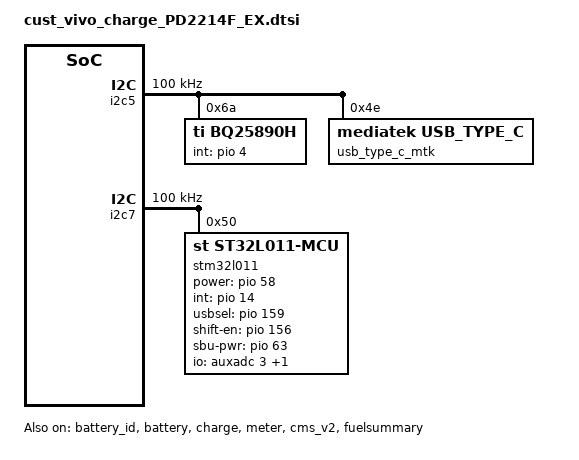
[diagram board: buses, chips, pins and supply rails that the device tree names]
#include <dt-bindings/iio/adc/mediatek,mt6375_auxadc.h>
#include <dt-bindings/iio/adc/mediatek,mt6375_adc.h>
#include <dt-bindings/iio/mt635x-auxadc.h>

&battery_id {
	status = "okay";
	compatible = "vivo,battery_id";

	vivo,bat-adc-ctrl-gpio = <&pio 92 0>;

	io-channels = <&auxadc 3>;
	io-channel-names = "battery_id_adc";

	vivo,bat-name = "B-P1(1511041) ATL 4.48V 4130","UNKNOWN","UNKNOWN","UNKNOWN";
};

&battery {
	status = "okay";
	compatible = "vivo,battery";

	io-channels = <&auxadc 0>;
	//	<&pmic_adc (ADC_PURES_100K_MASK | AUXADC_VIN5)>,
	//	<&pmic_adc (ADC_PURES_100K_MASK | AUXADC_VIN7)>;
	io-channel-names = "primary_board_therm";
	//		"usb_con_therm",
	//		"batt_therm";
	vivo,low-volt-threshold = <3400>;
	vivo,soft-rise-percent = <96>;
	vivo,soft-rise-cumulative = <3>;
	vivo,soft-rise-keep-cumulative = <10>;
	vivo,percnet-sync-delta = <1>;
	vivo,percnet-sync-cumulative = <9>;
	vivo,full-sync-cumulative = <3>;
	vivo,soft-term-percent = <99>;
	vivo,soft-term-cumulative = <24>;
	vivo,soc-decimal-enable;
};

&charge {
	status = "okay";
	compatible = "vivo,charge";

	vivo,chg-wdt-s = <40>;
	vivo,re-chg-voltage-mv = <100>;
	vivo,prechg-voltage-mv = <3000>;
	vivo,iprechg-current-ma = <300>;
	vivo,iterm-current-ma = <256>;
	vivo,vreg-voltage-mv = <4460>;
	vivo,vindpm-voltage-mv = <4600>;
	vivo,sys-voltage-min-mv= <3300>;
	vivo,boostv-voltage-mv = <5150>;
	vivo,boostv-ilimit-ma = <1300>;
	vivo,ovp-voltage-mv = <15000>;

	vivo,normal-full-ibat-table-size = <4>;
	vivo,normal-full-ibat-table = <150 199 (-200)>,
		<200 249 (-200)>,
		<250 349 (-200)>,
		<350 449 (-300)>;

	/*
	 * 0  auto detect charging
	 * 1  vivo-normal chargine
	 * 2  vivo-single engine charging
	 * 3  vivo-dual engine charging
	 * 4  vivo-flash charging
	 */
	vivo,charge-scheme = <0>;
	vivo,direct-charger-enable;

	/*
	 * SUPPORTED_ADAPTER_DEFAULT = 0,
	 * SUPPORTED_ADAPTER_VIVO_LV_DCHG_5V_4500MA = 1,
	 * SUPPORTED_ADAPTER_VIVO_HV_DCHG_10V_2250MA = 2,
	 * SUPPORTED_ADAPTER_QC20__9V_2000MA = 3,
	 * SUPPORTED_ADAPTER_VIVO_HV_DCHG_10V_4000MA = 4,
	 * SUPPORTED_ADAPTER_MAX,
	 */
	vivo,supported-adapter = <3>;

	//parameter for 9V2A
	vivo,primary-ichg-max-ma = <2240>;
	vivo,parallel-ichg-max-ma = <1680>;

	vivo,flashchg-spec-ma = <2000 3300 10000>;
	vivo,fastchg-spec-ma = <2000 2100 3800>;
	vivo,normalchg-spec-ma = <2000 1500 2300>;

	/* 0---PMIC; 1---CHGIC */
	vivo,vbus-detect-source = <1>;
	//vivo,shipmode-gpio = <&pio 122 0>;

	//vivo,usboe-gpio = <&pio 163 0>;
	//vivo,apcmos-ctrl-gpio = <&mt6373_pio 1 0>;
	//vivo,wichg-sleep-ctrl-gpio = <&mt6373_pio 2 0>;
	//vivo,otgen-gpio = <&pio 223 0>;
	//vivo,apmos-gpio = <&pio 224 0>;
	//vivo,otg-ocp-int-gpio = <&pio 3 0>;
	//vivo,wls-charge-enable;

	/*ffc*/
	//vivo,ffc-enable;
	vivo,ffc-iterm-ma = <(-595)>;
	vivo,ffc-vreg-mv = <4528>;
	vivo,ffc-temperature-range = <150 450>;
	vivo,ffc-full-vbat-table-size = <3>;
	vivo,ffc-full-vbat-table = <4531 4528 4470>;
	vivo,ffc-full-ibat-table-size = <4>;
	vivo,ffc-full-ibat-table = <150 199 (-882)>,
		<200 249 (-1279)>,
		<250 349 (-1279)>,
		<350 449 (-1455)>;
};

&meter {
	status = "okay";
	compatible = "vivo,meter";

	vivo,load-capacity-delta-max = <60>;
	vivo,poweron-delta-capacity = <20>;
	vivo,poweron-low-capacity = <3>;
	vivo,volt-car-delta = <8>;
	vivo,car-volt-delta = <6>;
	vivo,meter-res-compesate = <10>;
	vivo,ocv-board-compesate = <0>;

	/* 0---AGING_UNSUPPORTED; 1---DRIVER_SUPPORTED; 2---USPACE_SUPPORTED */
	vivo,battery-aging-support = <2>;

	vivo,capacity-mAh = <4500>;
	/*COLD_CHG COLD_DISCHG NORMAL_CHG NORMAL_DISCHG*/
	vivo,car-tune-value = <1000 1000 1000 1000>,
		<1000 1000 1000 1000>,
		<1000 1000 1000 1000>,
		<1000 1000 1000 1000>,
		<1000 1000 1000 1000>,
		<1000 1000 1000 1000>;
	vivo,bats-qmax = <4100 4200 4280 4350 4400>,
		<4060 4280 4400 4640 4750>,
		<4240 4480 4770 4850 4880>,
		<4611 4630 4747 4805 4786>,
		<4611 4630 4747 4805 4786>,
		<4611 4630 4747 4805 4786>;
	/* car-tune adjust remap */
	vivo,car-tune-adjust-enable;
	vivo,car-tune-adjust-size = <3>;
	vivo,car-tune-adjust-table = <0 10 (330) 6>,
		<11 20 (-30) 7>,
		<21 100 (-30) 8>;

	#include "PD2214_battery_table.dtsi"
};

&cms_v2 {
	compatible = "vivo,charger-monitor-v2";
	status = "okay";

	default_board: single_charger_board {
		       /*default board: keep in xxxxxx*/
		       support-board-version = "xxxxxx";

		       vivo,bat-det-method = <0>;//r:0, rc:1, eprom:2, ex-fg:3
		       vivo,bat-id-gpio = <&pio 28 0>;

		       /*
			  CHG0__CHARGING_TECHNOLOGY_NONE = 0,
			  CHG1__NORMAL_CHARGING,			//5V/2A normal charging
			  CHG2__QC2_CHARGING,				//9V/2A	QC2.0 charging
			  CHG3__LOW_VOLTAGE_DIRECT_CHARGING,		//5V/4.5A direct charging
			  CHG4__SINGLE_IC_DIV2_CHARGING,		//single IC Div/2 charging
			  CHG5__DUAL_IC_DIV2_CHARGING,			//Dual IC Div/2 charging
			  CHG6__DUAL_IC_DUAL_BATTERY_DIV2_CHARGING,	//Dual IC Div/2 charging
			  CHGX__CHARGING_TECHNOLOGY_MAX,
			*/
		       vivo,charging-technology = <4>;

		       vivo,no-bat-warning;
		       vivo,no-chg-timeout;
		       vivo,chg-timeout-mins = <900>;

		       //high temperature charger current control enable
		       vivo,htccc-enable;
		       vivo,htccc-data = <46 55 4100000 100000>;

		       //vivo,fbon-scale-enable;/*disable default*/
		       vivo,fbon-scale-data = <2 100 100>;

		       //vivo,switch-scale-enable;/*disable from rom4.0*/
		       vivo,switch-scale-data = <75 53>;

		       vivo,calling-scale-enable;
		       vivo,calling-scale-data = <100 21>;/*ibat:3900 * 0.54 = 2106,more than 1500,not exit dchg*/
		       vivo,calling-dchg-disable;

		       vivo,weixin-calling-scale-enable;
		       vivo,weixin-calling-scale-data = <100 106>;/*5000mA*/

		       vivo,carlife-scale-enable;
		       vivo,carlife-scale-data = <100 12>;/*500mA*/

		       //vivo,fixed-scale-enable;
		       vivo,fixed-scale-data = <120 3800 0>;/*dchg fixed time adjust the max ibat,disable default*/

		       /*data processing : batt-temp*/
		       vivo,dp-batt-temp-enable;
		       vivo,dp-batt-temp-data = <100>;

		       vivo,vbat-r-comp = <13>;

		       /* charging current for devices in exhibition mode */
		       vivo,exhibition-mode-current-primary = <2048>;
		       vivo,exhibition-mode-current-parallel = <0>;

		       /*default tc parameter*/
		       //single charger ibat scale base on temperature battery cell info:1C/1.2C 3960mah
		       /* tmin, tmax, data, volt1, data_ex1, volt2, data_ex2. */
		       vivo,normal-tc-row-col = <8 9>;
		       vivo,normal-tc-data = <550 8888 0 0 0 0 0 0 0>,
			       <450 549 50 0 0 0 0 0 0>,
			       <200 449 100 4200000 70 0 0 0 0>,
			       <150 199 70 0 0 0 0 0 0>,
			       <100 149 70 4200000 50 0 0 0 0>,
			       <50 99 30 0 0 0 0 0 0>,
			       <0 49 30 0 0 0 0 0 0>,
			       <(-8888) (-1) 0 0 0 0 0 0 0>;

		       /*flash tc parameter*/
		       vivo,flash-normal-tc-row-col = <11 9>;
		       vivo,flash-normal-tc-data = <550 8888 0 0 0 0 0 0 0>,
			       <450 549 58 0 0 0 0 0 0>,
			       <350 449 177 4200000 133 4430000 116 4460000 87>,
			       <200 349 177 4200000 133 4430000 116 4460000 87>,
			       <150 199 145 4200000 116 4460000 77 0 0>,
			       <100 149 96 0 0 0 0 0 0>,
			       <50 99 67 4200000 48 0 0 0 0>,
			       <20 49 67 4200000 48 0 0 0 0>,
			       <(-50) (19) 0 0 0 0 0 0 0>,
			       <(-100) (-51) 0 0 0 0 0 0 0>,
			       <(-8888) (-101) 0 0 0 0 0 0 0>;

		       /*adjust fastchg base on board temperature and fb off*/
		       vivo,intell-charge-enable;
		       vivo,parallel-temp-enable = <1 1>;//<x y> x:fb-on y:fb-off

		       /* Flash charge fb-on intell param */
		       vivo,primary-fbon-tc-row-col = <7 3>;
		       vivo,primary-fbon-tc-data = <451 8888 1600>,
			       <436 450 2200>,
			       <421 435 3200>,
			       <406 420 4000>,
			       <386 405 5200>,
			       <366 385 5800>,
			       <(-8888) 365 8000>;

		       vivo,parallel-fbon-tc-row-col = <6 3>;
		       vivo,parallel-fbon-tc-data = <491 8888 1600>,
			       <481 490 2000>,
			       <471 480 2400>,
			       <461 470 3900>,
			       <451 460 6000>,
			       <(-8888) 450 10000>;

		       /* Flash charge fb-off intell param */
		       vivo,primary-fboff-tc-row-col = <6 3>;
		       vivo,primary-fboff-tc-data = <431 8888 1600>,
			       <411 430 3600>,
			       <391 410 4300>,
			       <376 390 4600>,
			       <361 375 5700>,
			       <(-8888) 360 8000>;
		       vivo,parallel-fboff-tc-row-col = <7 3>;
		       vivo,parallel-fboff-tc-data = <501 8888 1600>,
			       <491 500 2900>,
			       <481 490 4800>,
			       <471 480 5800>,
			       <461 470 6700>,
			       <451 460 7900>,
			       <(-8888) 450 10000>;

		       /* 9v Fast charge fb-on intell param */
		       vivo,9v-primary-fbon-tc-row-col = <5 3>;
		       vivo,9v-primary-fbon-tc-data = <451 8888 300>,
			       <431 450 500>,
			       <421 430 1000>,
			       <411 420 1500>,
			       <(-8888) 410 2000>;
		       vivo,9v-parallel-fbon-tc-row-col = <3 3>;
		       vivo,9v-parallel-fbon-tc-data = <401 8888 512>,
			       <386 400 800>,
			       <(-8888) 385 1000>;
		       // second parallel parameter, for rt9467
		       vivo,9v-2nd-parallel-fbon-tc-row-col = <3 3>;
		       vivo,9v-2nd-parallel-fbon-tc-data = <401 8888 512>,
			       <386 400 800>,
			       <(-8888) 385 1000>;


		       /* 9v Fast charge fb-off intell param */
		       vivo,9v-primary-fboff-tc-row-col = <5 3>;
		       vivo,9v-primary-fboff-tc-data = <451 8888 300>,
			       <431 450 500>,
			       <421 430 1000>,
			       <411 420 1500>,
			       <(-8888) 410 2000>;

		       vivo,9v-parallel-fboff-tc-row-col = <6 3>;
		       vivo,9v-parallel-fboff-tc-data = <431 8888 500>,
			       <411 430 700>,
			       <381 410 850>,
			       <371 380 1050>,
			       <351 370 1300>,
			       <(-8888) 350 1500>;
		       // second parallel parameter, for rt9467
		       vivo,9v-2nd-parallel-fboff-tc-row-col = <6 3>;
		       vivo,9v-2nd-parallel-fboff-tc-data = <431 8888 500>,
			       <411 430 700>,
			       <381 410 790>,
			       <371 380 1050>,
			       <351 370 1300>,
			       <(-8888) 350 1500>;


		       /* 5v Normal charge fb-on intell param */
		       vivo,5v-primary-fbon-tc-row-col = <5 3>;
		       vivo,5v-primary-fbon-tc-data = <441 8888 300>,
			       <421 440 500>,
			       <401 420 1000>,
			       <381 400 1600>,
			       <(-8888) 380 2000>;
		       vivo,5v-parallel-fbon-tc-row-col = <1 3>;
		       vivo,5v-parallel-fbon-tc-data = <(-8888) 8888 0>;

		       /* 5v Normal charge fb-off intell param */
		       vivo,5v-primary-fboff-tc-row-col = <5 3>;
		       vivo,5v-primary-fboff-tc-data = <441 8888 300>,
			       <431 440 500>,
			       <421 430 1000>,
			       <411 420 1500>,
			       <(-8888) 410 2000>;
		       vivo,5v-parallel-fboff-tc-row-col = <1 3>;
		       vivo,5v-parallel-fboff-tc-data = <(-8888) 8888 0>;

		       // Direct charging param
		       vivo,direct-charger-enable;//porting_check
		       vivo,ex-bms-psy-name = "bq_bms";

		       // bat_baord, usb_conn, pcb_conn(master_bat_conn), bat_conn
		       vivo,dchg-ntc-protect-enable;
		       vivo,dchg-ntc-protect-data = <750 800 850 850>;

		       vivo,adapter-cooldown-data = <900 850 3400>;
		       /*adapter power derate*/
		       vivo,adapter-power-derate-enable;

		       /* usb connecter protect param
			* USB_PROTECT_NONE = 0,
			* USB_CONN_TEMP_HEAT_PROTECT = BIT(0),
			* USB_ID_PROTECT = BIT(1),
			*/
		       vivo,usb-connecter-protect-enable = <1>;
		       vivo,usb-id-protect-data= <1100 1547 500>;/* 500K, 2M, fcc */
		       vivo,usb-conn-heat-protect-data-row-col = <2 4>;
		       vivo,usb-conn-heat-protect-data= <260 8888 670 620>,
			       <(-8888) 259 570 520>;

		       /*
			* max vbus of adapter:11v, max ibus of adapter:5A
			* min voltage of battery for half chg:3500mV,max voltage of battery for half charge:4100mV,
			* 5V2A charge min current threshold: 1000mA,5V2A charge max current threshold:2100mA,
			* flash charge min current threshold:5000mA,flash charge max current threshold:11000mA
			*/

		       /*default parameter*/
		       vivo,charge-param-judge-threshold = <5 2 3500 4300 1000 2100 5000 11000 0 0>;
		       /* factory mode charging test param */
		       vivo,charge-test-param-row-col = <12 3>;
		       vivo,charge-test-param-data = <0 0 5500>, /* cable resistance, min value, max value */
			       <0 0 5500>, /* master ibus, min ibus, max ibus */
			       <0 0 5500>, /* slave ibus, min ibus, max ibus */
			       <1 20 40>, /* batt therm ntc, min value, max value */
			       <1 20 45>, /* board therm ntc, min value, max value */
			       <0 20 50>, /* sub charger ntc, min value, max value */
			       <0 20 45>, /* usb con ntc, min value, max value */
			       <0 20 45>, /* usb con 1 ntc, double usb NTC, min value, max value */
			       <0 20 45>, /* bat btb master ntc, min value, max value */
			       <0 20 50>, /* bat btb sub ntc, min value, max value */
			       <0 20 50>, /* bat board ntc, min value, max value */
			       <0 20 50>; /* wireless charge coil ntc, min value, max value */

		       /*flash parameter*/
		       vivo,flash-charge-param-judge-threshold = <11 4 3500 4100 1000 2300 4500 8200>;
		       /* factory mode charging test param */
		       vivo,flash-charge-test-param-row-col = <12 3>;
		       vivo,flash-charge-test-param-data = <1 0 5500>, /* cable resistance, min value, max value */
			       <1 0 5500>, /* master ibus, min ibus, max ibus */
			       <0 0 5500>, /* slave ibus, min ibus, max ibus */
			       <1 20 40>, /* batt therm ntc, min value, max value */
			       <1 20 45>, /* board therm ntc, min value, max value */
			       <0 20 50>, /* sub charger ntc, min value, max value */
			       <1 20 45>, /* usb con ntc, min value, max value */
			       <0 20 45>, /* usb con 1 ntc, double usb NTC, min value, max value */
			       <1 20 45>, /* bat btb master ntc, min value, max value */
			       <0 20 50>, /* bat btb sub ntc, min value, max value */
			       <0 20 50>, /* bat board ntc, min value, max value */
			       <0 20 50>; /* wireless charge coil ntc, min value, max value */

		       #include "PD2219_battery_chg_params.dtsi"
	};
};

&power_supply_lite {
	status = "okay";
	compatible = "vivo,power_supply_lite";
};

&wls_system {
	status = "disabled";
	compatible = "vivo,wls-system-control";
	//vivo,wls-40w-enable;
	//vivo,wls-sleep-enable;
	//vivo,alternate_charger_name = "boost_charger";//must del
	vivo,wls-dchg-vout-to-vbat-scale = <4>;//default=2->RX_vout:vbat=2:1;  4->RX_vout:vbat=4:1
};

&fuelsummary {
	status = "okay";
	compatible = "vivo,fuelsummary";

	/************************************************************
	 *
	 *  0   vivo-fastchg
	 *  1   qcom-dualchg
	 *  2   mtk-dualchg
	 *  3   qcom-normchg
	 *  4   mtk-normchg
	 *
	 ***********************************************************/
	chg-scheme = <2>;
	fex-version = <3>;
	fbon-ibat = <(-900)>;
	fboff-ibat = <(-1000)>;

	/* 0---AGING_UNSUPPORTED; 1---DRIVER_SUPPORTED; 2---USPACE_SUPPORTED */
	vivo,battery-aging-support = <2>;
};



&i2c5 {
	#address-cells = <1>;
	#size-cells = <0>;
	status = "okay";
	clock-frequency = <100000>;
	mediatek,use-open-drain;

	bq25890h@6a {
		compatible = "ti,bq25890h";
		reg = <0x6a>;

		vivo,int-gpio = <&pio 4 0>;
	};
	usb_type_c_mtk:usb_type_c@4e {
		compatible = "mediatek,usb_type_c";
		reg = <0x4e>;
	};
};



&i2c7 {
	#address-cells = <1>;
	#size-cells = <0>;
	status = "okay";
	clock-frequency = <100000>;

	stm32l011@50 {
		compatible = "st,st32l011-mcu";
		reg = <0x50>;

		//vpower-ldo-supply = <&mt6369_vtp>;
		vivo,power-gpio = <&pio 58 0>;//ZC_LDO_EN
		vivo,int-gpio = <&pio 14 0>;//MCU_INT_AP
		vivo,usbsel-gpio = <&pio 159 0>;//USB_SW_EN
		vivo,shift-en-gpio = <&pio 156 0>;//SHIFT_EN
		vivo,sbu-pwr-gpio = <&pio 63 0>;
		//vivo,mcu-version-gpio = <&pio 193 0>;
		//vivo,chgic-version-gpio = <&pio 188 0>;
		ti,temp-cold-degc = <2>;
		ti,temp-hot-degc = <43>;
		vivo,total-limit-max-ma = <12000>;
		vivo,bigdata-collect-time-limit = <95>;//seconds
		vivo,direct-charger-enable;//porting_check

		//vivo,ffc-dchg-cv-normal = <8920>;
		//vivo,ffc-dchg-iterm-normal = <441>;
		//vivo,vbat-too-high-threshold = <9040>;
		vivo,ffc-temperature-range = <150 450>;
		vivo,ffc-cc-to-cv-ibat-thr-rc = <1 3>;
		/*<Tmin Tmax current>*/
		vivo,ffc-cc-to-cv-ibat-thr-table = <150 450 3800>;
		vivo,ffc-dchg-cv-mv-rc = <3 2>;
		/*btb_cv,fg_cv*/
		vivo,ffc-dchg-cv-mv-table = <4430 4430>,/*default*/
			<4531 4531>,/*single_charging*/
			<4528 4528>;/*dual_charging*/

		//vivo,cout-int-gpio = <&pio 5 0>;

		/*ibat low div2 bypass feature*/
		//vivo,div2-bypass-enable;
		//vivo,div2-bypass-ibat-thr = <2500>;

		vivo,sbu-cable-id-detect-enable;
		vivo,sbu-detect-rely-usb-switch;
		//vivo,sbu-id-detect-from-ex-adc;

		vivo,bat-board-temp-enable = <0>;
		vivo,usb-conn-temp-enable = <0>;
		vivo,bat-conn-temp-enable = <0>;
		vivo,master-bat-conn-temp-enable = <0>;
		vivo,dchg-exit-ntc-threshold = <700 650 700 700 1200>;

		/* BQ25970_SINGLE_DCHG:
		 * DCHG_SINGLE_TYPE_22P5W = 0,
		 * DCHG_SINGLE_TYPE_33W = 1,
		 * DCHG_SINGLE_TYPE_44W = 2,
		 * BQ25970_DUAL_DCHG:DCHG_DUAL_TYPE_44W = 3,
		 */
		vivo,dchg-supported-type = <1>;
		/*adapter power derate*/
		vivo,adapter-power-derate-enable;

		//vivo,single-charger-enable;
		vivo,adapter-sha-encryption;
		io-channels = <&auxadc 3>,
			<&auxadc 5>;

		io-channel-names = "sbu2_cable_id_adc",
			"sbu1_cable_id_adc";

		/*cable r limit table :
		  <rmin,rmax, dchg_ibus_max, cable_id_type, limit_count>
		  cable_id_type: 0:effective cable id, 1:other(default) cable id
		 */
		vivo,cable-r-limit-table-rc = <9 5>;
		vivo,cable-r-limit-table = <(-8888) 220 6000 0 0>,
			<221 278 3000 0 0>,
			<279 343 2250 0 0>,
			<344 454 1800 0 0>,
			<455 8888 0 0 0>,
			<(-8888) 385 3000 1 0>,
			<386 450 2250 1 0>,
			<451 561 1800 1 0>,
			<562 8888 0 1 0>;

		vivo,single-dchg-ic;
		//vivo,wls-charge-enable;

		/*load firmware profile*/
		vivo,fw-id-range-pct = <100>;
		//#include "mcu-firmware-data-xh.dtsi"
		//#include "mcu-firmware-data-44w.dtsi"
		//#include "mcu-firmware-data-44w-notbat.dtsi"
	};
};

